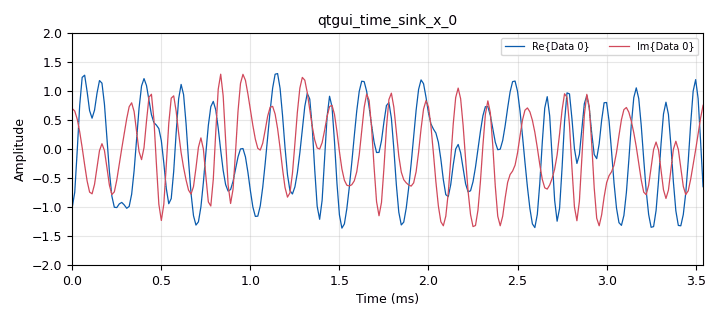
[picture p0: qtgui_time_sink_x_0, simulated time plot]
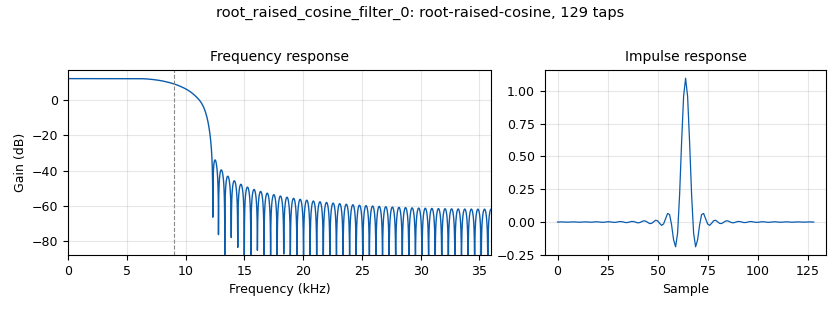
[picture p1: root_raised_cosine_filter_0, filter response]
options:
  parameters:
    generate_options: qt_gui
    id: pi4dqpsk_mod_demod_w_pi4mapper
    output_language: python
    title: pi4dqpsk_mod_demod_w_pi4mapper
  states: {}

blocks:
- name: samp_per_symbol
  id: variable
  parameters:
    value: '4'
  states: {}
- name: symbol_rate
  id: variable
  parameters:
    value: '18000'
  states: {}
- name: analog_random_source_x_0
  id: analog_random_source_x
  parameters:
    max: '4'
    min: '0'
    num_samps: '4192'
    repeat: 'True'
    type: byte
  states: {}
- name: blocks_float_to_complex_0
  id: blocks_float_to_complex
  parameters: {}
  states: {}
- name: blocks_multiply_xx_0
  id: blocks_multiply_xx
  parameters:
    type: float
  states: {}
- name: blocks_multiply_xx_0_0
  id: blocks_multiply_xx
  parameters:
    type: float
  states: {}
- name: blocks_repeat_0
  id: blocks_repeat
  parameters:
    interp: samp_per_symbol
    type: float
  states: {}
- name: blocks_repeat_0_0
  id: blocks_repeat
  parameters:
    interp: samp_per_symbol
    type: float
  states: {}
- name: blocks_throttle_0_0_0
  id: blocks_throttle
  parameters:
    samples_per_second: symbol_rate*samp_per_symbol
    type: complex
  states: {}
- name: blocks_vector_source_x_1
  id: blocks_vector_source_x
  parameters:
    repeat: 'True'
    type: float
    vector: (1, 0, 0, 0)
  states: {}
- name: epy_block_1
  id: epy_block
  parameters:
    _source_code: |
      """
      Embedded Python Blocks:

      Each time this file is saved, GRC will instantiate the first class it finds
      to get ports and parameters of your block. The arguments to __init__  will
      be the parameters. All of them are required to have default values!
      """

      import numpy as np
      from gnuradio import gr


      class blk(gr.sync_block):  # other base classes are basic_block, decim_block, interp_block
          """Embedded Python Block example - a simple multiply const"""

          def __init__(self):  # only default arguments here
              """arguments to this function show up as parameters in GRC"""
              gr.sync_block.__init__(
                  self,
                  name='Pi4DQPSK Mapper',   # will show up in GRC
                  in_sig=[np.uint8],
                  out_sig=[np.float32, np.float32]
              )
              # if an attribute with the same name as a parameter is found,
              # a callback is registered (properties work, too).
              self.index = 0

          def work(self, input_items, output_items):
              # Phase Index Change Table: corresponding to current phase (row 0-7) and current dibit value (column 0-3)
              LK_table = [[1, 3, 7, 5],
                          [2, 4, 0, 6],
                          [3, 5, 1, 7],
                          [4, 6, 2, 0],
                          [5, 7, 3, 1],
                          [6, 0, 4, 2],
                          [7, 1, 5, 3],
                          [0, 2, 6, 4]]
              # Phase value corresponding to Phase Index
              IQ_table = [[ np.cos(np.pi/4 * 0) , np.sin(np.pi/4 * 0) ],
                          [ np.cos(np.pi/4 * 1) , np.sin(np.pi/4 * 1) ],
                          [ np.cos(np.pi/4 * 2) , np.sin(np.pi/4 * 2) ],
                          [ np.cos(np.pi/4 * 3) , np.sin(np.pi/4 * 3) ],
                          [ np.cos(np.pi/4 * 4) , np.sin(np.pi/4 * 4) ],
                          [ np.cos(np.pi/4 * 5) , np.sin(np.pi/4 * 5) ],
                          [ np.cos(np.pi/4 * 6) , np.sin(np.pi/4 * 6) ],
                          [ np.cos(np.pi/4 * 7) , np.sin(np.pi/4 * 7) ]]

              index = 0 # Set initial phase: I = 1 Q = 0
              for i in range (len(input_items[0])):
                  self.index = LK_table[self.index][input_items[0][i]]
                  output_items[0][i] = IQ_table[self.index][0]
                  output_items[1][i] = IQ_table[self.index][1]
              return len(output_items[0])
  states: {}
- name: qtgui_time_sink_x_0
  id: qtgui_time_sink_x
  parameters:
    size: '256'
    srate: samp_per_symbol*symbol_rate
    type: complex
    ymax: '2'
    ymin: '-2'
  states: {}
- name: root_raised_cosine_filter_0
  id: root_raised_cosine_filter
  parameters:
    alpha: '0.35'
    decim: '1'
    gain: samp_per_symbol
    ntaps: 32*samp_per_symbol
    samp_rate: samp_per_symbol*symbol_rate
    sym_rate: symbol_rate
    type: fir_filter_fff
  states: {}
- name: root_raised_cosine_filter_0_0
  id: root_raised_cosine_filter
  parameters:
    alpha: '0.35'
    decim: '1'
    gain: samp_per_symbol
    ntaps: 32*samp_per_symbol
    samp_rate: samp_per_symbol*symbol_rate
    sym_rate: symbol_rate
    type: fir_filter_fff
  states: {}

connections:
- [analog_random_source_x_0, '0', epy_block_1, '0']
- [blocks_float_to_complex_0, '0', blocks_throttle_0_0_0, '0']
- [blocks_multiply_xx_0, '0', root_raised_cosine_filter_0, '0']
- [blocks_multiply_xx_0_0, '0', root_raised_cosine_filter_0_0, '0']
- [blocks_repeat_0, '0', blocks_multiply_xx_0, '0']
- [blocks_repeat_0_0, '0', blocks_multiply_xx_0_0, '1']
- [blocks_throttle_0_0_0, '0', qtgui_time_sink_x_0, '0']
- [blocks_vector_source_x_1, '0', blocks_multiply_xx_0, '1']
- [blocks_vector_source_x_1, '0', blocks_multiply_xx_0_0, '0']
- [epy_block_1, '0', blocks_repeat_0, '0']
- [epy_block_1, '1', blocks_repeat_0_0, '0']
- [root_raised_cosine_filter_0, '0', blocks_float_to_complex_0, '0']
- [root_raised_cosine_filter_0_0, '0', blocks_float_to_complex_0, '1']

metadata:
  file_format: 1
  grc_version: 3.10.4.0
